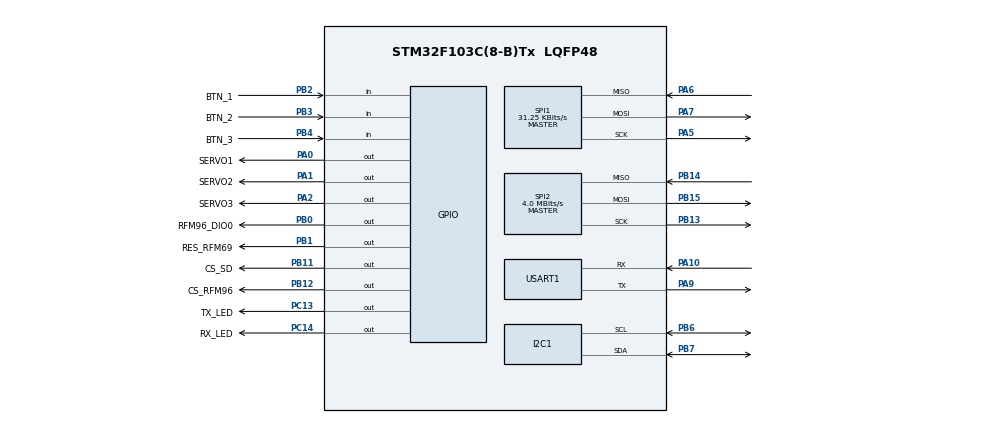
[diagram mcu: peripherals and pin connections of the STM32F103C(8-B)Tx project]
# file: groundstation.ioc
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FATFS._MAX_SS=4096
FATFS._USE_LFN=1
Mcu.Family=STM32F1
Mcu.Name=STM32F103C(8-B)Tx
Mcu.Package=LQFP48
NVIC.PriorityGroup=NVIC_PRIORITYGROUP_4
PA0-WKUP.GPIO_Label=SERVO1
PA0-WKUP.Signal=GPIO_Output
PA1.GPIO_Label=SERVO2
PA1.Signal=GPIO_Output
PA10.Mode=Asynchronous
PA10.Signal=USART1_RX
PA13.Mode=Serial_Wire
PA13.Signal=SYS_JTMS-SWDIO
PA14.Mode=Serial_Wire
PA14.Signal=SYS_JTCK-SWCLK
PA2.GPIO_Label=SERVO3
PA2.Signal=GPIO_Output
PA5.Mode=Full_Duplex_Master
PA5.Signal=SPI1_SCK
PA6.Mode=Full_Duplex_Master
PA6.Signal=SPI1_MISO
PA7.Mode=Full_Duplex_Master
PA7.Signal=SPI1_MOSI
PA9.Mode=Asynchronous
PA9.Signal=USART1_TX
PB0.GPIO_Label=RFM96_DIO0
PB0.Signal=GPIO_Output
PB1.GPIO_Label=RES_RFM69
PB1.Signal=GPIO_Output
PB11.GPIO_Label=CS_SD
PB11.Signal=GPIO_Output
PB12.GPIO_Label=CS_RFM96
PB12.Signal=GPIO_Output
PB13.Mode=Full_Duplex_Master
PB13.Signal=SPI2_SCK
PB14.Mode=Full_Duplex_Master
PB14.Signal=SPI2_MISO
PB15.Mode=Full_Duplex_Master
PB15.Signal=SPI2_MOSI
PB2.GPIO_Label=BTN_1
PB2.Signal=GPIO_Input
PB3.GPIO_Label=BTN_2
PB3.Signal=GPIO_Input
PB4.GPIO_Label=BTN_3
PB4.Signal=GPIO_Input
PB6.Mode=I2C
PB6.Signal=I2C1_SCL
PB7.Mode=I2C
PB7.Signal=I2C1_SDA
PC13-TAMPER-RTC.GPIO_Label=TX_LED
PC13-TAMPER-RTC.Signal=GPIO_Output
PC14-OSC32_IN.GPIO_Label=RX_LED
PC14-OSC32_IN.Signal=GPIO_Output
PD0-OSC_IN.Mode=HSE-External-Oscillator
PD0-OSC_IN.Signal=RCC_OSC_IN
PD1-OSC_OUT.Mode=HSE-External-Oscillator
PD1-OSC_OUT.Signal=RCC_OSC_OUT
ProjectManager.HeapSize=0x200
ProjectManager.StackSize=0x400
ProjectManager.TargetToolchain=CMake
RCC.APB1Freq_Value=8000000
RCC.APB2Freq_Value=8000000
SPI1.BaudRatePrescaler=SPI_BAUDRATEPRESCALER_256
SPI1.CalculateBaudRate=31.25 KBits/s
SPI1.DataSize=SPI_DATASIZE_8BIT
SPI1.Direction=SPI_DIRECTION_2LINES
SPI1.Mode=SPI_MODE_MASTER
SPI1.VirtualType=VM_MASTER
SPI2.CalculateBaudRate=4.0 MBits/s
SPI2.Direction=SPI_DIRECTION_2LINES
SPI2.Mode=SPI_MODE_MASTER
SPI2.VirtualType=VM_MASTER
USART1.VirtualMode=VM_ASYNC
VP_FATFS_VS_Generic.Mode=User_defined
board=custom

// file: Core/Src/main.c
/* USER CODE BEGIN Header */
/**
 ******************************************************************************
 * @file           : main.c
 * @brief          : Main program body
 ******************************************************************************
 * @attention
 *
 * Copyright (c) 2025 STMicroelectronics.
 * All rights reserved.
 *
 * This software is licensed under terms that can be found in the LICENSE file
 * in the root directory of this software component.
 * If no LICENSE file comes with this software, it is provided AS-IS.
 *
 ******************************************************************************
 */
/* USER CODE END Header */
#include "main.h"
#include "fatfs.h"

/* USER CODE BEGIN Includes */
#include "MPU9250.h"
#include "RF98.h"
#include "bme280.h"
#include "nmea_parse.h"
#include "sd.h"
#include "sensors.h"
#include <stdint.h>

/* USER CODE END Includes */

I2C_HandleTypeDef hi2c1;

SPI_HandleTypeDef hspi1;
SPI_HandleTypeDef hspi2;

UART_HandleTypeDef huart1;

/* USER CODE BEGIN PV */
SENSORDATA sensordata;
/* USER CODE END PV */

void SystemClock_Config(void);
static void MX_GPIO_Init(void);
static void MX_SPI1_Init(void);
static void MX_SPI2_Init(void);
static void MX_USART1_UART_Init(void);
static void MX_I2C1_Init(void);

int main(void)
{

  /* MCU Configuration--------------------------------------------------------*/

  /* Reset of all peripherals, Initializes the Flash interface and the Systick. */
  HAL_Init();

  /* USER CODE BEGIN Init */

  initall();

  /* USER CODE END Init */

  /* Configure the system clock */
  SystemClock_Config();

  /* Initialize all configured peripherals */
  MX_GPIO_Init();
  MX_SPI1_Init();
  MX_SPI2_Init();
  MX_USART1_UART_Init();
  MX_I2C1_Init();
  MX_FATFS_Init();

  BYTE filenameBuf[20];
  snprintf((char *)filenameBuf, sizeof(filenameBuf), "log.csv");
  writeheaders((char *)filenameBuf);

  /* USER CODE BEGIN 2 */

  uint8_t LoRa_buff[512];

  /* USER CODE END 2 */

  /* Infinite loop */
  /* USER CODE BEGIN WHILE */
  while (1) {
    // Set LoRa to continuous receive mode
    RF98_setModeRx_Continuous();

    // Block until data is received (or use RF98_receive_Timeout for non-blocking)
    if (RF98_receive(LoRa_buff)) {
        // Successfully received data
        // LoRa_buff now contains the data

        // Save to SD card
        if (!write("log.csv", (char*)LoRa_buff)) {
            // Handle write error
            // problemo
        }

        // send to pc ... gulp
    }
  }
    /* USER CODE END WHILE */

}

void SystemClock_Config(void)
{
  RCC_OscInitTypeDef RCC_OscInitStruct = {0};
  RCC_ClkInitTypeDef RCC_ClkInitStruct = {0};

  /** Initializes the RCC Oscillators according to the specified parameters
  * in the RCC_OscInitTypeDef structure.
  */
  RCC_OscInitStruct.OscillatorType = RCC_OSCILLATORTYPE_HSI;
  RCC_OscInitStruct.HSIState = RCC_HSI_ON;
  RCC_OscInitStruct.HSICalibrationValue = RCC_HSICALIBRATION_DEFAULT;
  RCC_OscInitStruct.PLL.PLLState = RCC_PLL_NONE;
  if (HAL_RCC_OscConfig(&RCC_OscInitStruct) != HAL_OK)
  {
    Error_Handler();
  }

  /** Initializes the CPU, AHB and APB buses clocks
  */
  RCC_ClkInitStruct.ClockType = RCC_CLOCKTYPE_HCLK|RCC_CLOCKTYPE_SYSCLK
                              |RCC_CLOCKTYPE_PCLK1|RCC_CLOCKTYPE_PCLK2;
  RCC_ClkInitStruct.SYSCLKSource = RCC_SYSCLKSOURCE_HSI;
  RCC_ClkInitStruct.AHBCLKDivider = RCC_SYSCLK_DIV1;
  RCC_ClkInitStruct.APB1CLKDivider = RCC_HCLK_DIV1;
  RCC_ClkInitStruct.APB2CLKDivider = RCC_HCLK_DIV1;

  if (HAL_RCC_ClockConfig(&RCC_ClkInitStruct, FLASH_LATENCY_0) != HAL_OK)
  {
    Error_Handler();
  }
}

static void MX_I2C1_Init(void)
{

  hi2c1.Instance = I2C1;
  hi2c1.Init.ClockSpeed = 100000;
  hi2c1.Init.DutyCycle = I2C_DUTYCYCLE_2;
  hi2c1.Init.OwnAddress1 = 0;
  hi2c1.Init.AddressingMode = I2C_ADDRESSINGMODE_7BIT;
  hi2c1.Init.DualAddressMode = I2C_DUALADDRESS_DISABLE;
  hi2c1.Init.OwnAddress2 = 0;
  hi2c1.Init.GeneralCallMode = I2C_GENERALCALL_DISABLE;
  hi2c1.Init.NoStretchMode = I2C_NOSTRETCH_DISABLE;
  if (HAL_I2C_Init(&hi2c1) != HAL_OK)
  {
    Error_Handler();
  }

}

static void MX_SPI1_Init(void)
{

  /* SPI1 parameter configuration*/
  hspi1.Instance = SPI1;
  hspi1.Init.Mode = SPI_MODE_MASTER;
  hspi1.Init.Direction = SPI_DIRECTION_2LINES;
  hspi1.Init.DataSize = SPI_DATASIZE_8BIT;
  hspi1.Init.CLKPolarity = SPI_POLARITY_LOW;
  hspi1.Init.CLKPhase = SPI_PHASE_1EDGE;
  hspi1.Init.NSS = SPI_NSS_SOFT;
  hspi1.Init.BaudRatePrescaler = SPI_BAUDRATEPRESCALER_256;
  hspi1.Init.FirstBit = SPI_FIRSTBIT_MSB;
  hspi1.Init.TIMode = SPI_TIMODE_DISABLE;
  hspi1.Init.CRCCalculation = SPI_CRCCALCULATION_DISABLE;
  hspi1.Init.CRCPolynomial = 10;
  if (HAL_SPI_Init(&hspi1) != HAL_OK)
  {
    Error_Handler();
  }

}

static void MX_SPI2_Init(void)
{

  /* SPI2 parameter configuration*/
  hspi2.Instance = SPI2;
  hspi2.Init.Mode = SPI_MODE_MASTER;
  hspi2.Init.Direction = SPI_DIRECTION_2LINES;
  hspi2.Init.DataSize = SPI_DATASIZE_8BIT;
  hspi2.Init.CLKPolarity = SPI_POLARITY_LOW;
  hspi2.Init.CLKPhase = SPI_PHASE_1EDGE;
  hspi2.Init.NSS = SPI_NSS_SOFT;
  hspi2.Init.BaudRatePrescaler = SPI_BAUDRATEPRESCALER_2;
  hspi2.Init.FirstBit = SPI_FIRSTBIT_MSB;
  hspi2.Init.TIMode = SPI_TIMODE_DISABLE;
  hspi2.Init.CRCCalculation = SPI_CRCCALCULATION_DISABLE;
  hspi2.Init.CRCPolynomial = 10;
  if (HAL_SPI_Init(&hspi2) != HAL_OK)
  {
    Error_Handler();
  }

}

static void MX_USART1_UART_Init(void)
{

  huart1.Instance = USART1;
  huart1.Init.BaudRate = 115200;
  huart1.Init.WordLength = UART_WORDLENGTH_8B;
  huart1.Init.StopBits = UART_STOPBITS_1;
  huart1.Init.Parity = UART_PARITY_NONE;
  huart1.Init.Mode = UART_MODE_TX_RX;
  huart1.Init.HwFlowCtl = UART_HWCONTROL_NONE;
  huart1.Init.OverSampling = UART_OVERSAMPLING_16;
  if (HAL_UART_Init(&huart1) != HAL_OK)
  {
    Error_Handler();
  }

}

static void MX_GPIO_Init(void)
{
  GPIO_InitTypeDef GPIO_InitStruct = {0};

  /* GPIO Ports Clock Enable */
  __HAL_RCC_GPIOC_CLK_ENABLE();
  __HAL_RCC_GPIOD_CLK_ENABLE();
  __HAL_RCC_GPIOA_CLK_ENABLE();
  __HAL_RCC_GPIOB_CLK_ENABLE();

  /*Configure GPIO pin Output Level */
  HAL_GPIO_WritePin(GPIOC, TX_LED_Pin|RX_LED_Pin, GPIO_PIN_RESET);

  /*Configure GPIO pin Output Level */
  HAL_GPIO_WritePin(GPIOA, SERVO1_Pin|SERVO2_Pin|SERVO3_Pin, GPIO_PIN_RESET);

  /*Configure GPIO pin Output Level */
  HAL_GPIO_WritePin(GPIOB, RFM96_DIO0_Pin|RES_RFM69_Pin|CS_SD_Pin|CS_RFM96_Pin, GPIO_PIN_RESET);

  /*Configure GPIO pins : TX_LED_Pin RX_LED_Pin */
  GPIO_InitStruct.Pin = TX_LED_Pin|RX_LED_Pin;
  GPIO_InitStruct.Mode = GPIO_MODE_OUTPUT_PP;
  GPIO_InitStruct.Pull = GPIO_NOPULL;
  GPIO_InitStruct.Speed = GPIO_SPEED_FREQ_LOW;
  HAL_GPIO_Init(GPIOC, &GPIO_InitStruct);

  /*Configure GPIO pins : SERVO1_Pin SERVO2_Pin SERVO3_Pin */
  GPIO_InitStruct.Pin = SERVO1_Pin|SERVO2_Pin|SERVO3_Pin;
  GPIO_InitStruct.Mode = GPIO_MODE_OUTPUT_PP;
  GPIO_InitStruct.Pull = GPIO_NOPULL;
  GPIO_InitStruct.Speed = GPIO_SPEED_FREQ_LOW;
  HAL_GPIO_Init(GPIOA, &GPIO_InitStruct);

  /*Configure GPIO pins : RFM96_DIO0_Pin RES_RFM69_Pin CS_SD_Pin CS_RFM96_Pin */
  GPIO_InitStruct.Pin = RFM96_DIO0_Pin|RES_RFM69_Pin|CS_SD_Pin|CS_RFM96_Pin;
  GPIO_InitStruct.Mode = GPIO_MODE_OUTPUT_PP;
  GPIO_InitStruct.Pull = GPIO_NOPULL;
  GPIO_InitStruct.Speed = GPIO_SPEED_FREQ_LOW;
  HAL_GPIO_Init(GPIOB, &GPIO_InitStruct);

  /*Configure GPIO pins : BTN_1_Pin BTN_2_Pin BTN_3_Pin */
  GPIO_InitStruct.Pin = BTN_1_Pin|BTN_2_Pin|BTN_3_Pin;
  GPIO_InitStruct.Mode = GPIO_MODE_INPUT;
  GPIO_InitStruct.Pull = GPIO_NOPULL;
  HAL_GPIO_Init(GPIOB, &GPIO_InitStruct);

}

/* USER CODE BEGIN 4 */
// void update_bme280_values(void) {
//   BME280Calculation(&BME280);

//   // float temperature = BME280.Temperature;
//   // float pressure = BME280.Pressure;
//   // float humidity = BME280.Humidity;
//   // float altitudeTP = BME280.AltitudeTP;
//   // float altitudeP = BME280.AltitudeP;
// }

// void update_mpu9250_values(void) {
//   MPU_readProcessedData(&hi2c1);

//   // int16_t raw_ax = MPURawData.ax;
//   // int16_t raw_ay = MPURawData.ay;
//   // int16_t raw_az = MPURawData.az;
//   // int16_t raw_gx = MPURawData.gx;
//   // int16_t raw_gy = MPURawData.gy;
//   // int16_t raw_gz = MPURawData.gz;

//   // float ax = MPUData.ax;
//   // float ay = MPUData.ay;
//   // float az = MPUData.az;

//   // float gx = MPUData.gx;
//   // float gy = MPUData.gy;
//   // float gz = MPUData.gz;

//   MPU_calcAttitude(&hi2c1);

//   // float pitch = MPUattitude.p; // voor de pitch
//   // float roll = MPUattitude.r; // voor de roll
//   // float yaw = MPUattitude.y; // voor de yaw
// }

// void update_nmea_values(void) {
//   nmea_parse(&GPSData, GPSBuffer);

//   // double latitude = GPSData.latitude; // latitude in degrees with decimal
//   places
//   // char latside = GPSData.latSide; // N or S
//   // double longitude = GPSData.longitude; // longitude in degrees with
//   decimal places
//   // char longside = GPSData.lonSide; // E or W
//   // double altitudeGPS = GPSData.altitude; // altitude in meters
//   // double hdop = GPSData.hdop; // horizontal dilution of precision
//   // int satelliteCount = GPSData.satelliteCount; // number of satellites
//   used in measurement
//   // double fix = GPSData.fix; // 1 = fix, 0 = no fix
//   // char lastMeasure[10];
//   // strcpy(lastMeasure, GPSData.lastMeasure); // hhmmss.ss UTC of last
//   successful measurement; time

// }

// // Helper function to convert int to string
// static int int_to_str(char *str, int value) {
//   if (value < 0) {
//     str[0] = '-';
//     return 1 + int_to_str(&str[1], -value);
//   }
//   if (value >= 10) {
//     int len = int_to_str(str, value / 10);
//     return len + int_to_str(&str[len], value % 10);
//   }
//   str[0] = value + '0';
//   return 1;
// }

// const char* timestamp_to_string(void) {
//   static char buffer[32];
//   // Parse lastMeasure string (format: "hhmmss.ss")
//   float timeValue = 0.0;
//   for (int i = 0; GPSData.lastMeasure[i] && GPSData.lastMeasure[i] != '\0';
//   i++) {
//     if (GPSData.lastMeasure[i] == '.') {
//       timeValue = timeValue * 100 + (GPSData.lastMeasure[i+1] - '0') * 10 +
//       (GPSData.lastMeasure[i+2] - '0'); break;
//     }
//     timeValue = timeValue * 10 + (GPSData.lastMeasure[i] - '0');
//   }

//   int hours = (int)(timeValue / 10000);
//   int minutes = (int)((timeValue - (hours * 10000)) / 100);
//   float seconds = timeValue - (hours * 10000) - (minutes * 100);

//   // Manual string building
//   int pos = 0;
//   const char *prefix = "2025-06-05T";
//   for (int i = 0; prefix[i]; i++) buffer[pos++] = prefix[i];

//   // Add hours (HH)
//   buffer[pos++] = (hours / 10) + '0';
//   buffer[pos++] = (hours % 10) + '0';
//   buffer[pos++] = ':';

//   // Add minutes (MM)
//   buffer[pos++] = (minutes / 10) + '0';
//   buffer[pos++] = (minutes % 10) + '0';
//   buffer[pos++] = ':';

//   // Add seconds (SS.SS)
//   int sec_int = (int)seconds;
//   buffer[pos++] = (sec_int / 10) + '0';
//   buffer[pos++] = (sec_int % 10) + '0';
//   buffer[pos++] = '.';
//   int frac = (int)((seconds - sec_int) * 100);
//   buffer[pos++] = (frac / 10) + '0';
//   buffer[pos++] = (frac % 10) + '0';

//   buffer[pos++] = 'Z';
//   buffer[pos] = '\0';
//   return buffer;
// }

// const char* json_from_values(void) {
//   static char json_buffer[512];
//   int pos = 0;

//   // Helper to add string
//   #define ADD_STR(s) do { const char *_s = (s); for(int _i=0; _s[_i]; _i++)
//   json_buffer[pos++] = _s[_i]; } while(0)

//   ADD_STR("{\"device_id\":\"glider-001\",\"timestamp\":\"");
//   const char *ts = timestamp_to_string();
//   for(int i=0; ts[i]; i++) json_buffer[pos++] = ts[i];
//   ADD_STR("\",\"location\":{\"latitude\":");

//   // Add latitude with 6 decimal places
//   int lat_int = (int)GPSData.latitude;
//   int lat_frac = (int)((GPSData.latitude - lat_int) * 1000000);
//   if(lat_frac < 0) lat_frac = -lat_frac;
//   pos += int_to_str(&json_buffer[pos], lat_int);
//   json_buffer[pos++] = '.';
//   for(int i = 100000; i > 0; i /= 10) json_buffer[pos++] = (lat_frac / i) %
//   10 + '0';

//   ADD_STR(",\"longitude\":");
//   int lon_int = (int)GPSData.longitude;
//   int lon_frac = (int)((GPSData.longitude - lon_int) * 1000000);
//   if(lon_frac < 0) lon_frac = -lon_frac;
//   pos += int_to_str(&json_buffer[pos], lon_int);
//   json_buffer[pos++] = '.';
//   for(int i = 100000; i > 0; i /= 10) json_buffer[pos++] = (lon_frac / i) %
//   10 + '0';

//   ADD_STR(",\"altitude\":");
//   int alt_int = (int)GPSData.altitude;
//   int alt_frac = (int)((GPSData.altitude - alt_int) * 100);
//   if(alt_frac < 0) alt_frac = -alt_frac;
//   pos += int_to_str(&json_buffer[pos], alt_int);
//   json_buffer[pos++] = '.';
//   json_buffer[pos++] = (alt_frac / 10) + '0';
//   json_buffer[pos++] = (alt_frac % 10) + '0';

//   ADD_STR("},\"readings\":{\"temperature_celsius\":");
//   int temp_int = (int)BME280.Temperature;
//   int temp_frac = (int)((BME280.Temperature - temp_int) * 100);
//   if(temp_frac < 0) temp_frac = -temp_frac;
//   pos += int_to_str(&json_buffer[pos], temp_int);
//   json_buffer[pos++] = '.';
//   json_buffer[pos++] = (temp_frac / 10) + '0';
//   json_buffer[pos++] = (temp_frac % 10) + '0';

//   ADD_STR(",\"humidity_percent\":");
//   int hum_int = (int)BME280.Humidity;
//   int hum_frac = (int)((BME280.Humidity - hum_int) * 100);
//   if(hum_frac < 0) hum_frac = -hum_frac;
//   pos += int_to_str(&json_buffer[pos], hum_int);
//   json_buffer[pos++] = '.';
//   json_buffer[pos++] = (hum_frac / 10) + '0';
//   json_buffer[pos++] = (hum_frac % 10) + '0';

//   ADD_STR(",\"air_pressure_hpa\":");
//   int press_int = (int)BME280.Pressure;
//   int press_frac = (int)((BME280.Pressure - press_int) * 100);
//   if(press_frac < 0) press_frac = -press_frac;
//   pos += int_to_str(&json_buffer[pos], press_int);
//   json_buffer[pos++] = '.';
//   json_buffer[pos++] = (press_frac / 10) + '0';
//   json_buffer[pos++] = (press_frac % 10) + '0';

//   ADD_STR(",\"pitch_deg\":");
//   int pitch_int = (int)MPUattitude.p;
//   int pitch_frac = (int)((MPUattitude.p - pitch_int) * 100);
//   if(pitch_frac < 0) pitch_frac = -pitch_frac;
//   pos += int_to_str(&json_buffer[pos], pitch_int);
//   json_buffer[pos++] = '.';
//   json_buffer[pos++] = (pitch_frac / 10) + '0';
//   json_buffer[pos++] = (pitch_frac % 10) + '0';

//   ADD_STR(",\"roll_deg\":");
//   int roll_int = (int)MPUattitude.r;
//   int roll_frac = (int)((MPUattitude.r - roll_int) * 100);
//   if(roll_frac < 0) roll_frac = -roll_frac;
//   pos += int_to_str(&json_buffer[pos], roll_int);
//   json_buffer[pos++] = '.';
//   json_buffer[pos++] = (roll_frac / 10) + '0';
//   json_buffer[pos++] = (roll_frac % 10) + '0';

//   ADD_STR(",\"yaw_deg\":");
//   int yaw_int = (int)MPUattitude.y;
//   int yaw_frac = (int)((MPUattitude.y - yaw_int) * 100);
//   if(yaw_frac < 0) yaw_frac = -yaw_frac;
//   pos += int_to_str(&json_buffer[pos], yaw_int);
//   json_buffer[pos++] = '.';
//   json_buffer[pos++] = (yaw_frac / 10) + '0';
//   json_buffer[pos++] = (yaw_frac % 10) + '0';

//   ADD_STR("},\"status\":{\"satellites\":");
//   pos += int_to_str(&json_buffer[pos], GPSData.satelliteCount);

//   ADD_STR(",\"fix\":");
//   pos += int_to_str(&json_buffer[pos], (int)GPSData.fix);

//   ADD_STR(",\"hdop\":");
//   int hdop_int = (int)GPSData.hdop;
//   int hdop_frac = (int)((GPSData.hdop - hdop_int) * 100);
//   if(hdop_frac < 0) hdop_frac = -hdop_frac;
//   pos += int_to_str(&json_buffer[pos], hdop_int);
//   json_buffer[pos++] = '.';
//   json_buffer[pos++] = (hdop_frac / 10) + '0';
//   json_buffer[pos++] = (hdop_frac % 10) + '0';

//   ADD_STR("}}");
//   json_buffer[pos] = '\0';

//   #undef ADD_STR
//   return json_buffer;
// }

/* USER CODE END 4 */

void Error_Handler(void)
{
  __disable_irq();
  while (1) {
  }
}
#ifdef USE_FULL_ASSERT
/**
  * @brief  Reports the name of the source file and the source line number
  *         where the assert_param error has occurred.
  * @param  file: pointer to the source file name
  * @param  line: assert_param error line source number
  * @retval None
  */
void assert_failed(uint8_t *file, uint32_t line)
{
  /* USER CODE BEGIN 6 */
  /* User can add his own implementation to report the file name and line
     number, ex: printf("Wrong parameters value: file %s on line %d\r\n", file,
     line) */
  /* USER CODE END 6 */
}
#endif /* USE_FULL_ASSERT */
